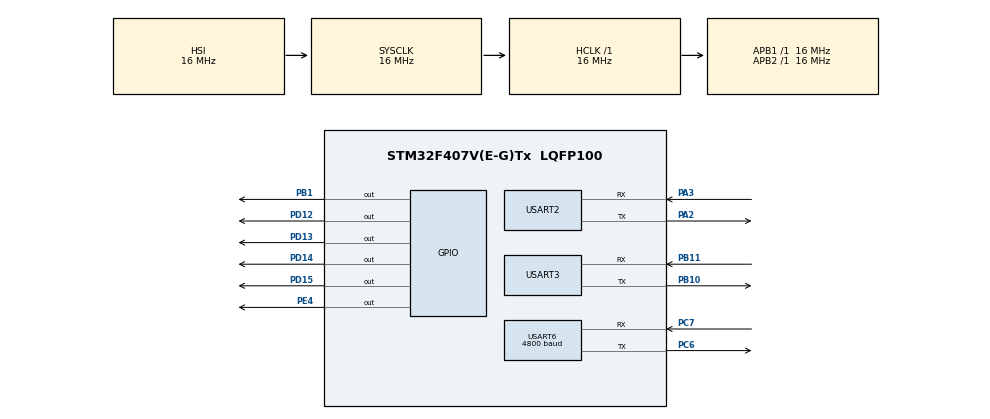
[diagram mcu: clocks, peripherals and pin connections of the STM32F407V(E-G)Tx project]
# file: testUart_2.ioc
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Mcu.Family=STM32F4
Mcu.Name=STM32F407V(E-G)Tx
Mcu.Package=LQFP100
NVIC.PriorityGroup=NVIC_PRIORITYGROUP_4
NVIC.USART2_IRQn=true\:0\:0\:false\:false\:true\:true
NVIC.USART3_IRQn=true\:0\:0\:false\:false\:true\:true
NVIC.USART6_IRQn=true\:0\:0\:false\:false\:true\:true
PA2.Mode=Asynchronous
PA2.Signal=USART2_TX
PA3.Mode=Asynchronous
PA3.Signal=USART2_RX
PB1.Signal=GPIO_Output
PB10.Mode=Asynchronous
PB10.Signal=USART3_TX
PB11.Mode=Asynchronous
PB11.Signal=USART3_RX
PC6.Mode=Asynchronous
PC6.Signal=USART6_TX
PC7.Mode=Asynchronous
PC7.Signal=USART6_RX
PD12.Signal=GPIO_Output
PD13.Signal=GPIO_Output
PD14.Signal=GPIO_Output
PD15.Signal=GPIO_Output
PE4.Signal=GPIO_Output
ProjectManager.HeapSize=0x200
ProjectManager.StackSize=0x400
ProjectManager.TargetToolchain=MDK-ARM V5
RCC.AHBFreq_Value=16000000
RCC.APB1Freq_Value=16000000
RCC.APB2Freq_Value=16000000
RCC.CortexFreq_Value=16000000
RCC.HSE_VALUE=25000000
RCC.HSI_VALUE=16000000
RCC.LSE_VALUE=32768
RCC.SYSCLKFreq_VALUE=16000000
RCC.VCOOutputFreq_Value=192000000
USART2.VirtualMode=VM_ASYNC
USART3.VirtualMode=VM_ASYNC
USART6.BaudRate=4800
USART6.VirtualMode=VM_ASYNC
board=custom

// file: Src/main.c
/* USER CODE BEGIN Header */
/**
  ******************************************************************************
  * @file           : main.c
  * @brief          : Main program body
  ******************************************************************************
  ** This notice applies to any and all portions of this file
  * that are not between comment pairs USER CODE BEGIN and
  * USER CODE END. Other portions of this file, whether
  * inserted by the user or by software development tools
  * are owned by their respective copyright owners.
  *
  * COPYRIGHT(c) 2019 STMicroelectronics
  *
  * Redistribution and use in source and binary forms, with or without modification,
  * are permitted provided that the following conditions are met:
  *   1. Redistributions of source code must retain the above copyright notice,
  *      this list of conditions and the following disclaimer.
  *   2. Redistributions in binary form must reproduce the above copyright notice,
  *      this list of conditions and the following disclaimer in the documentation
  *      and/or other materials provided with the distribution.
  *   3. Neither the name of STMicroelectronics nor the names of its contributors
  *      may be used to endorse or promote products derived from this software
  *      without specific prior written permission.
  *
  * THIS SOFTWARE IS PROVIDED BY THE COPYRIGHT HOLDERS AND CONTRIBUTORS "AS IS"
  * AND ANY EXPRESS OR IMPLIED WARRANTIES, INCLUDING, BUT NOT LIMITED TO, THE
  * IMPLIED WARRANTIES OF MERCHANTABILITY AND FITNESS FOR A PARTICULAR PURPOSE ARE
  * DISCLAIMED. IN NO EVENT SHALL THE COPYRIGHT HOLDER OR CONTRIBUTORS BE LIABLE
  * FOR ANY DIRECT, INDIRECT, INCIDENTAL, SPECIAL, EXEMPLARY, OR CONSEQUENTIAL
  * DAMAGES (INCLUDING, BUT NOT LIMITED TO, PROCUREMENT OF SUBSTITUTE GOODS OR
  * SERVICES; LOSS OF USE, DATA, OR PROFITS; OR BUSINESS INTERRUPTION) HOWEVER
  * CAUSED AND ON ANY THEORY OF LIABILITY, WHETHER IN CONTRACT, STRICT LIABILITY,
  * OR TORT (INCLUDING NEGLIGENCE OR OTHERWISE) ARISING IN ANY WAY OUT OF THE USE
  * OF THIS SOFTWARE, EVEN IF ADVISED OF THE POSSIBILITY OF SUCH DAMAGE.
  *
  ******************************************************************************
  */
/* USER CODE END Header */

#include "main.h"

/* USER CODE BEGIN Includes */
#include "stm32f4xx_hal.h"
#include "..\MDK-ARM\AT_command.h"
#include <string.h>
/* USER CODE END Includes */

/* USER CODE BEGIN PTD */
#define TAILLE_REPONSE 200
#define GPS_TEST_TIMEOUT 100
/* USER CODE END PTD */

UART_HandleTypeDef huart2;
UART_HandleTypeDef huart3;
UART_HandleTypeDef huart6;

/* USER CODE BEGIN PV */
UART_HandleTypeDef huart2;
UART_HandleTypeDef huart3;
UART_HandleTypeDef huart6;
char rxBuffer[1];
StatusAT statusAT = EN_COURS;
AT_command currentAT;
int8_t latitude[12];
int8_t longitude[13];
uint8_t flag_new_data_GPS = 0;
static uint8_t flag_reinit_GPS = 0;
/* USER CODE END PV */

void SystemClock_Config(void);
static void MX_GPIO_Init(void);
static void MX_USART2_UART_Init(void);
static void MX_USART3_UART_Init(void);
static void MX_USART6_UART_Init(void);
/* USER CODE BEGIN PFP */
void SystemClock_Config(void);
static void MX_GPIO_Init(void);
static void MX_USART2_UART_Init(void);
static void MX_USART3_UART_Init(void);
static void MX_USART6_UART_Init(void);
void config_GPIO(void);
void initGPS(void);
/* USER CODE END PFP */

/* USER CODE BEGIN 0 */
char bufGPS[200];
/* USER CODE END 0 */

int main(void)
{
  /* USER CODE BEGIN 1 */

	char msg[] = "\nDebut Transmission : \n";
	StatusAT initStatus = EN_COURS;
	char debugStop = 0;
	int nb_try = 0;
  /* USER CODE END 1 */

  /* MCU Configuration--------------------------------------------------------*/

  /* Reset of all peripherals, Initializes the Flash interface and the Systick. */
  HAL_Init();

  /* USER CODE BEGIN Init */
	config_GPIO();
  /* USER CODE END Init */

  /* Configure the system clock */
  SystemClock_Config();

  /* Initialize all configured peripherals */
  MX_GPIO_Init();
  MX_USART2_UART_Init();
  MX_USART3_UART_Init();
  MX_USART6_UART_Init();
  /* USER CODE BEGIN 2 */

	HAL_UART_Transmit(&huart2,(uint8_t*)msg,24,10); //message de début
	HAL_UART_Transmit(&huart2,(uint8_t*)"\n---Debut Init---\n\n",21,10);

	/*
	HAL_GPIO_WritePin(GPIOD,GPIO_PIN_12,GPIO_PIN_SET);
	HAL_Delay(500);
	HAL_GPIO_WritePin(GPIOD,GPIO_PIN_13,GPIO_PIN_SET);
		HAL_Delay(500);
	HAL_GPIO_WritePin(GPIOD,GPIO_PIN_14,GPIO_PIN_SET);
		HAL_Delay(500);
	HAL_GPIO_WritePin(GPIOD,GPIO_PIN_15,GPIO_PIN_SET);
	*/

	do{
		if (nb_try != 0)
			HAL_UART_Transmit(&huart2,(uint8_t*)"\n- Nouvel init...\n\n",20,10);
		initLARA(&huart3);
		initStatus = initConnectionHTTP(&huart3);
		nb_try++;
	}while(initStatus != SUCCESS);
	HAL_GPIO_WritePin(GPIOD,GPIO_PIN_13,GPIO_PIN_SET);

	HAL_UART_Transmit(&huart2,(uint8_t*)"\n---Init SUCCESS---\n\n",21,10);

	initGPS();

	HAL_GPIO_WritePin(GPIOD,GPIO_PIN_14,GPIO_PIN_RESET);
	HAL_UART_Receive_IT(&huart6,(uint8_t *)bufGPS,1);
  /* USER CODE END 2 */

  /* Infinite loop */
  /* USER CODE BEGIN WHILE */
	//postGPS(&huart3, "12345678901","123456789012");

  while (1){
		if(flag_new_data_GPS == 1){
			HAL_GPIO_WritePin(GPIOD,GPIO_PIN_15,GPIO_PIN_SET);
			creationFichier(&huart3,latitude,longitude);
			postGPS(&huart3);
			flag_new_data_GPS = 0;
			HAL_GPIO_WritePin(GPIOD,GPIO_PIN_15,GPIO_PIN_RESET);
		}

		if (flag_reinit_GPS){
			HAL_GPIO_WritePin(GPIOD,GPIO_PIN_14,GPIO_PIN_SET);
			initGPS();
			HAL_GPIO_WritePin(GPIOD,GPIO_PIN_14,GPIO_PIN_RESET);
		}
    /* USER CODE END WHILE */

    /* USER CODE BEGIN 3 */
  }
}

void initGPS(void)
{
	HAL_UART_Transmit(&huart2,(uint8_t*)"\n***Init-GPS***\n",17,10);
	HAL_GPIO_WritePin(GPIOE, GPIO_PIN_4, GPIO_PIN_SET);//RST=1

	HAL_GPIO_TogglePin(GPIOD,GPIO_PIN_14);

	HAL_Delay(300);
	HAL_GPIO_WritePin(GPIOE, GPIO_PIN_4, GPIO_PIN_RESET);//RST=0

	HAL_GPIO_TogglePin(GPIOD,GPIO_PIN_14);

	/*Wake up the module*/
	HAL_GPIO_WritePin(GPIOB, GPIO_PIN_1, GPIO_PIN_RESET);
  HAL_Delay(100);
	HAL_GPIO_WritePin(GPIOB, GPIO_PIN_1, GPIO_PIN_SET);

	HAL_GPIO_TogglePin(GPIOD,GPIO_PIN_14);

	HAL_Delay(2000);
	HAL_GPIO_WritePin(GPIOB, GPIO_PIN_1, GPIO_PIN_RESET);
	HAL_Delay(100);
	HAL_UART_Transmit(&huart2,(uint8_t*)"done\n",6,10);

	flag_reinit_GPS = 0;
}
  /* USER CODE END 3 */

void SystemClock_Config(void)
{
  RCC_OscInitTypeDef RCC_OscInitStruct = {0};
  RCC_ClkInitTypeDef RCC_ClkInitStruct = {0};

  /**Configure the main internal regulator output voltage
  */
  __HAL_RCC_PWR_CLK_ENABLE();
  __HAL_PWR_VOLTAGESCALING_CONFIG(PWR_REGULATOR_VOLTAGE_SCALE1);
  /**Initializes the CPU, AHB and APB busses clocks
  */
  RCC_OscInitStruct.OscillatorType = RCC_OSCILLATORTYPE_HSI;
  RCC_OscInitStruct.HSIState = RCC_HSI_ON;
  RCC_OscInitStruct.HSICalibrationValue = RCC_HSICALIBRATION_DEFAULT;
  RCC_OscInitStruct.PLL.PLLState = RCC_PLL_NONE;
  if (HAL_RCC_OscConfig(&RCC_OscInitStruct) != HAL_OK)
  {
    Error_Handler();
  }
  /**Initializes the CPU, AHB and APB busses clocks
  */
  RCC_ClkInitStruct.ClockType = RCC_CLOCKTYPE_HCLK|RCC_CLOCKTYPE_SYSCLK
                              |RCC_CLOCKTYPE_PCLK1|RCC_CLOCKTYPE_PCLK2;
  RCC_ClkInitStruct.SYSCLKSource = RCC_SYSCLKSOURCE_HSI;
  RCC_ClkInitStruct.AHBCLKDivider = RCC_SYSCLK_DIV1;
  RCC_ClkInitStruct.APB1CLKDivider = RCC_HCLK_DIV1;
  RCC_ClkInitStruct.APB2CLKDivider = RCC_HCLK_DIV1;

  if (HAL_RCC_ClockConfig(&RCC_ClkInitStruct, FLASH_LATENCY_0) != HAL_OK)
  {
    Error_Handler();
  }
}

static void MX_USART2_UART_Init(void)
{

  huart2.Instance = USART2;
  huart2.Init.BaudRate = 115200;
  huart2.Init.WordLength = UART_WORDLENGTH_8B;
  huart2.Init.StopBits = UART_STOPBITS_1;
  huart2.Init.Parity = UART_PARITY_NONE;
  huart2.Init.Mode = UART_MODE_TX_RX;
  huart2.Init.HwFlowCtl = UART_HWCONTROL_NONE;
  huart2.Init.OverSampling = UART_OVERSAMPLING_16;
  if (HAL_UART_Init(&huart2) != HAL_OK)
  {
    Error_Handler();
  }

}

static void MX_USART3_UART_Init(void)
{

  huart3.Instance = USART3;
  huart3.Init.BaudRate = 115200;
  huart3.Init.WordLength = UART_WORDLENGTH_8B;
  huart3.Init.StopBits = UART_STOPBITS_1;
  huart3.Init.Parity = UART_PARITY_NONE;
  huart3.Init.Mode = UART_MODE_TX_RX;
  huart3.Init.HwFlowCtl = UART_HWCONTROL_NONE;
  huart3.Init.OverSampling = UART_OVERSAMPLING_16;
  if (HAL_UART_Init(&huart3) != HAL_OK)
  {
    Error_Handler();
  }

}

static void MX_USART6_UART_Init(void)
{

  huart6.Instance = USART6;
  huart6.Init.BaudRate = 4800;
  huart6.Init.WordLength = UART_WORDLENGTH_8B;
  huart6.Init.StopBits = UART_STOPBITS_1;
  huart6.Init.Parity = UART_PARITY_NONE;
  huart6.Init.Mode = UART_MODE_TX_RX;
  huart6.Init.HwFlowCtl = UART_HWCONTROL_NONE;
  huart6.Init.OverSampling = UART_OVERSAMPLING_16;
  if (HAL_UART_Init(&huart6) != HAL_OK)
  {
    Error_Handler();
  }

}

static void MX_GPIO_Init(void)
{
  GPIO_InitTypeDef GPIO_InitStruct = {0};

  /* GPIO Ports Clock Enable */
  __HAL_RCC_GPIOE_CLK_ENABLE();
  __HAL_RCC_GPIOA_CLK_ENABLE();
  __HAL_RCC_GPIOB_CLK_ENABLE();
  __HAL_RCC_GPIOD_CLK_ENABLE();
  __HAL_RCC_GPIOC_CLK_ENABLE();

  /*Configure GPIO pin Output Level */
  HAL_GPIO_WritePin(GPIOE, GPIO_PIN_4, GPIO_PIN_RESET);

  /*Configure GPIO pin Output Level */
  HAL_GPIO_WritePin(GPIOB, GPIO_PIN_1, GPIO_PIN_RESET);

  /*Configure GPIO pin Output Level */
  HAL_GPIO_WritePin(GPIOD, GPIO_PIN_12|GPIO_PIN_13|GPIO_PIN_14|GPIO_PIN_15, GPIO_PIN_RESET);

  /*Configure GPIO pin : PE4 */
  GPIO_InitStruct.Pin = GPIO_PIN_4;
  GPIO_InitStruct.Mode = GPIO_MODE_OUTPUT_PP;
  GPIO_InitStruct.Pull = GPIO_NOPULL;
  GPIO_InitStruct.Speed = GPIO_SPEED_FREQ_LOW;
  HAL_GPIO_Init(GPIOE, &GPIO_InitStruct);

  /*Configure GPIO pin : PB1 */
  GPIO_InitStruct.Pin = GPIO_PIN_1;
  GPIO_InitStruct.Mode = GPIO_MODE_OUTPUT_PP;
  GPIO_InitStruct.Pull = GPIO_NOPULL;
  GPIO_InitStruct.Speed = GPIO_SPEED_FREQ_LOW;
  HAL_GPIO_Init(GPIOB, &GPIO_InitStruct);

  /*Configure GPIO pins : PD12 PD13 PD14 PD15 */
  GPIO_InitStruct.Pin = GPIO_PIN_12|GPIO_PIN_13|GPIO_PIN_14|GPIO_PIN_15;
  GPIO_InitStruct.Mode = GPIO_MODE_OUTPUT_PP;
  GPIO_InitStruct.Pull = GPIO_NOPULL;
  GPIO_InitStruct.Speed = GPIO_SPEED_FREQ_LOW;
  HAL_GPIO_Init(GPIOD, &GPIO_InitStruct);

}

/* USER CODE BEGIN 4 */

void config_GPIO(void){
	GPIO_InitTypeDef maLED;

	/* Activation des modules GPIO */
	__HAL_RCC_GPIOE_CLK_ENABLE();
	__HAL_RCC_GPIOB_CLK_ENABLE();
	/* Initialisation des LEDs */
	maLED.Pin = GPIO_PIN_10;
	maLED.Mode = GPIO_MODE_OUTPUT_PP;
	HAL_GPIO_Init(GPIOE, &maLED);

	maLED.Pin = GPIO_PIN_12;
	HAL_GPIO_Init(GPIOB, &maLED);

	HAL_GPIO_WritePin(GPIOE,GPIO_PIN_10,GPIO_PIN_RESET);
	HAL_GPIO_WritePin(GPIOB,GPIO_PIN_12,GPIO_PIN_RESET);
}

void HAL_UART_RxCpltCallback(UART_HandleTypeDef *huart){
	static char premierPost = 0;
	static char gpsFail = 0;

	if (huart->Instance == huart3.Instance){
		static char staking[RX_BUFFER_SIZE];
		static unsigned short index = 0;
		char flag_reset_index = 'F';
		char flag_end_responce = 0;

		staking[index] = rxBuffer[0];

		/*test fin des reponses*/
		if (currentAT.type == AT_C_UHTTPC){
			if(staking[index-6] == ':'){
				flag_end_responce = 1;
			}
		}
		else if(currentAT.type == AT_C_UDWNFILE){
				if (staking[index] == '>')
					flag_end_responce = 1;
		}
		else if((staking[index] == 'K' && staking[index-1] == 'O') || (staking[index] == 'R' && staking[index-1] == 'O'))
			flag_end_responce = 1;
		/*-------*/

		if (flag_end_responce){
			/*Actions grâce aux réponses*/
			flag_end_responce = 0;
			static char reponses[5][TAILLE_REPONSE];
			/* Reset de reponse*/
			for(short index_tab = 0; index_tab < 5; index_tab++){ //memset ?
				for(short new_index = 0; new_index < TAILLE_REPONSE; new_index++){
					reponses[index_tab][new_index] = 0x00;
				}
			}
			//volatile unsigned int nb_reponse = currentAT.nombre_reponses;

			/* récupération des réponses dans des buffers spécifiques */
			uint8_t cptBuffer=0, cpt = 0;
			for(unsigned short i=0 ; i<index+1 ; i++){
				if(staking[i] == '\r' || staking[i] == '\n' || staking[i] == '\0' || staking[i] == 0x0D){
					if(cpt != 0){
						reponses[cptBuffer][cpt+1] = '\0';
						cptBuffer+=1;
						cpt = 0;
					}
				}
				else{
					reponses[cptBuffer][cpt] = staking[i];
					cpt+=1;
				}
			}
		 /* ---	---	---	---	---	---	---	---		---	---		---	---	*/

			/* Affichage des réponses */
			for(short i = 0; i < currentAT.nombre_reponses; i++){
					HAL_UART_Transmit(&huart2,(uint8_t*) reponses[i],sizeTabChar(reponses[i]),200);
					uartEndLine(&huart2);
			}
			uartEndLine(&huart2);

			/* Verification des réponses pour chaque type de commande */
			if (currentAT.type == AT_OE || currentAT.type == AT_OE_RI){
				if (tabsEquals(reponses[1],"OK\0"))
					statusAT = OK;
				else
					statusAT = FAILED;
			}
			else if (currentAT.type == AT_RI_OE){
				if(tabsEquals(reponses[2], "OK\0"))
					statusAT = OK;
				else
					statusAT = FAILED;
			}
			else if (currentAT.type == AT_C_CPIN){
				if (tabsEquals(reponses[1], "+CPIN: READY\0"))
					statusAT = OK;
				else
					statusAT = FAILED;
			}
			else if(currentAT.type == AT_C_COPS || currentAT.type == AT_RI){
				statusAT = OK;
			}
			else if(currentAT.type == AT_C_UHTTPC){
				if (reponses[2][15] == '1')
					statusAT = OK;
				else
					statusAT = FAILED;
			}
			else if (currentAT.type ==  RI_AT_C_UHTTPC){
				if (reponses[3][15] == '1')
					statusAT = OK;
				else
					statusAT = FAILED;
			}
			else if (currentAT.type == AT_C_UDWNFILE){
				statusAT = OK;

				/* On fait ça de manière à reset le buffer qui va contenir le ok de UDWNFILE */
				currentAT.type = AT_RI;
			}
			else if(currentAT.type == AT_C_UFTPC){
				if (reponses[2][12] == '1')
					statusAT = OK;
				else
					statusAT = FAILED;
			}
			/* Reset des buffers*/
			for(short index_tab = 0; index_tab < RX_BUFFER_SIZE; index_tab++) //memset ?
				staking[index_tab] = 0x00;
			flag_reset_index = 'T';
			/* - - - - - - - - */
		}
		HAL_UART_Receive_IT(huart, (uint8_t *)rxBuffer, 1);

		if (flag_reset_index == 'T'){
			flag_reset_index = 'F';
			index = 0;
		}
		else
			index++;

		rxBuffer[0] = 0x00;
	}
	else if(huart->Instance == huart6.Instance){
		static char trameGlobale[150];
		static char heure[6];

		static unsigned char index=0;
		static unsigned char i=0;

		trameGlobale[index]=bufGPS[0];
		index++;

		if((trameGlobale[index-2]=='\r') && (trameGlobale[index-1]=='\n'))
		{
			if(strstr((const char*)trameGlobale,"$GPRMC") && flag_new_data_GPS == 0 && flag_reinit_GPS == 0)
			{
				for(i=7;i<15;i++)
					heure[i-7]=trameGlobale[i];
				for(i=20;i<31;i++)
					latitude[i-20]=trameGlobale[i];
				for(i=32;i<44;i++)
					longitude[i-32]=trameGlobale[i];

				/*for(i=0;i<2;i++)
					latitudeConvpartieun[i]=latitude[i];
				for(i=2;i<8;i++)
					latitudeConvpartiedeux[i]=latitude[i];

				for(i=0;i<3;i++)
					longitudeConvpartieun[i]=longitude[i];
				for(i=3;i<9;i++)
					longitudeConvpartiedeux[i]=longitude[i];

				latitudeFinale=atoi(latitudeConvpartieun)+atof(latitudeConvpartiedeux)/60;
				longitudeFinale=atoi(longitudeConvpartieun)+atof(longitudeConvpartiedeux)/60;

				sprintf(l,"%f %c",latitudeFinale,trameGlobale[25]);
				sprintf(L,"%f %c",longitudeFinale,trameGlobale[37]);*/

				HAL_UART_Transmit(&huart2,(uint8_t *)heure,6,100);
				uartEndLine(&huart2);
				HAL_UART_Transmit(&huart2,(uint8_t *)latitude,11,100);
				uartEndLine(&huart2);
				HAL_UART_Transmit(&huart2,(uint8_t *)longitude,12,100);
				uartEndLine(&huart2);
				uartEndLine(&huart2);

				if (!premierPost)
					HAL_GPIO_TogglePin(GPIOD,GPIO_PIN_14);
				/*for debug only
				char * la = "4451.1810,N";
				for(int i = 0; i < 13; i++)
					latitude[i] = la[i];
				char* lo =  "00033.8545,W";
				for(int i = 0; i < 14; i++)
					longitude[i] = lo[i];
				end debug only*/

				flag_new_data_GPS = 1;
				if(longitude[11] != 'W'){
					flag_new_data_GPS = 0;
					gpsFail++;
				}
				else if (!premierPost){
					premierPost = 1;
					HAL_GPIO_WritePin(GPIOD, GPIO_PIN_14, GPIO_PIN_SET);
				}
				if (gpsFail > GPS_TEST_TIMEOUT && premierPost == 0){
					flag_reinit_GPS = 1;
					gpsFail = 0;
				}

			}
			index=0;
			memset(trameGlobale, 0, sizeof(trameGlobale));
		}
		HAL_UART_Receive_IT(huart,(uint8_t *) bufGPS,1);
	}

}

/* USER CODE END 4 */

void Error_Handler(void)
{
  /* USER CODE BEGIN Error_Handler_Debug */
  /* User can add his own implementation to report the HAL error return state */
	HAL_UART_Transmit(&huart2,(uint8_t*)"Err_Hand l-306",15,1);
  /* USER CODE END Error_Handler_Debug */
}

/************************ (C) COPYRIGHT STMicroelectronics *****END OF FILE****/
